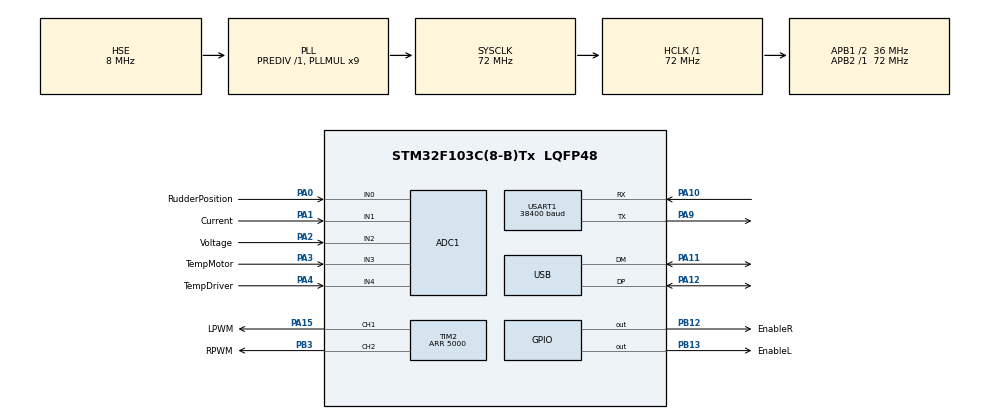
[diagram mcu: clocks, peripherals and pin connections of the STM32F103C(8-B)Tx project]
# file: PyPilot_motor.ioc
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ADC1.Channel-0\#ChannelRegularConversion=ADC_CHANNEL_0
ADC1.Channel-1\#ChannelRegularConversion=ADC_CHANNEL_1
ADC1.Channel-2\#ChannelRegularConversion=ADC_CHANNEL_2
ADC1.Channel-3\#ChannelRegularConversion=ADC_CHANNEL_3
ADC1.Channel-4\#ChannelRegularConversion=ADC_CHANNEL_4
ADC1.ContinuousConvMode=ENABLE
ADC1.DataAlign=ADC_DATAALIGN_RIGHT
ADC1.NbrOfConversion=5
ADC1.NbrOfConversionFlag=1
ADC1.Rank-0\#ChannelRegularConversion=1
ADC1.Rank-1\#ChannelRegularConversion=2
ADC1.Rank-2\#ChannelRegularConversion=3
ADC1.Rank-3\#ChannelRegularConversion=4
ADC1.Rank-4\#ChannelRegularConversion=5
ADC1.SamplingTime-0\#ChannelRegularConversion=ADC_SAMPLETIME_7CYCLES_5
ADC1.SamplingTime-1\#ChannelRegularConversion=ADC_SAMPLETIME_7CYCLES_5
ADC1.SamplingTime-2\#ChannelRegularConversion=ADC_SAMPLETIME_7CYCLES_5
ADC1.SamplingTime-3\#ChannelRegularConversion=ADC_SAMPLETIME_7CYCLES_5
ADC1.SamplingTime-4\#ChannelRegularConversion=ADC_SAMPLETIME_7CYCLES_5
ADC1.master=1
Dma.ADC1.0.Direction=DMA_PERIPH_TO_MEMORY
Dma.ADC1.0.Instance=DMA1_Channel1
Dma.ADC1.0.MemDataAlignment=DMA_MDATAALIGN_HALFWORD
Dma.ADC1.0.MemInc=DMA_MINC_ENABLE
Dma.ADC1.0.Mode=DMA_CIRCULAR
Dma.ADC1.0.PeriphDataAlignment=DMA_PDATAALIGN_HALFWORD
Dma.ADC1.0.PeriphInc=DMA_PINC_DISABLE
Dma.ADC1.0.Priority=DMA_PRIORITY_LOW
Dma.Request0=ADC1
Mcu.Family=STM32F1
Mcu.Name=STM32F103C(8-B)Tx
Mcu.Package=LQFP48
NVIC.DMA1_Channel1_IRQn=true\:1\:0\:true\:false\:true\:false\:true\:true
NVIC.PriorityGroup=NVIC_PRIORITYGROUP_4
NVIC.TIM4_IRQn=true\:15\:0\:false\:false\:true\:false\:true\:true
NVIC.TimeBase=TIM4_IRQn
NVIC.TimeBaseIP=TIM4
NVIC.USART1_IRQn=true\:0\:0\:true\:false\:true\:true\:true\:true
PA0-WKUP.GPIO_Label=RudderPosition
PA0-WKUP.Signal=ADCx_IN0
PA1.GPIO_Label=Current
PA1.Signal=ADCx_IN1
PA10.Mode=Asynchronous
PA10.Signal=USART1_RX
PA11.Mode=Device
PA11.Signal=USB_DM
PA12.Mode=Device
PA12.Signal=USB_DP
PA13.Mode=Serial_Wire
PA13.Signal=SYS_JTMS-SWDIO
PA14.Mode=Serial_Wire
PA14.Signal=SYS_JTCK-SWCLK
PA15.GPIO_Label=LPWM
PA15.Signal=S_TIM2_CH1_ETR
PA2.GPIO_Label=Voltage
PA2.Signal=ADCx_IN2
PA3.GPIO_Label=TempMotor
PA3.Signal=ADCx_IN3
PA4.GPIO_Label=TempDriver
PA4.Signal=ADCx_IN4
PA9.Mode=Asynchronous
PA9.Signal=USART1_TX
PB12.GPIO_Label=EnableR
PB12.Signal=GPIO_Output
PB13.GPIO_Label=EnableL
PB13.Signal=GPIO_Output
PB3.GPIO_Label=RPWM
PB3.Signal=S_TIM2_CH2
PC14-OSC32_IN.Mode=LSE-External-Oscillator
PC14-OSC32_IN.Signal=RCC_OSC32_IN
PC15-OSC32_OUT.Mode=LSE-External-Oscillator
PC15-OSC32_OUT.Signal=RCC_OSC32_OUT
PD0-OSC_IN.Mode=HSE-External-Oscillator
PD0-OSC_IN.Signal=RCC_OSC_IN
PD1-OSC_OUT.Mode=HSE-External-Oscillator
PD1-OSC_OUT.Signal=RCC_OSC_OUT
ProjectManager.HeapSize=0x200
ProjectManager.StackSize=0x400
ProjectManager.TargetToolchain=STM32CubeIDE
RCC.ADCPresc=RCC_ADCPCLK2_DIV8
RCC.AHBFreq_Value=72000000
RCC.APB1CLKDivider=RCC_HCLK_DIV2
RCC.APB1Freq_Value=36000000
RCC.APB1TimFreq_Value=72000000
RCC.APB2Freq_Value=72000000
RCC.APB2TimFreq_Value=72000000
RCC.HCLKFreq_Value=72000000
RCC.PLLMUL=RCC_PLL_MUL9
RCC.PLLSourceVirtual=RCC_PLLSOURCE_HSE
RCC.SYSCLKFreq_VALUE=72000000
RCC.SYSCLKSource=RCC_SYSCLKSOURCE_PLLCLK
RCC.USBFreq_Value=48000000
RCC.USBPrescaler=RCC_USBCLKSOURCE_PLL_DIV1_5
SH.ADCx_IN0.0=ADC1_IN0,IN0
SH.ADCx_IN1.0=ADC1_IN1,IN1
SH.ADCx_IN2.0=ADC1_IN2,IN2
SH.ADCx_IN3.0=ADC1_IN3,IN3
SH.ADCx_IN4.0=ADC1_IN4,IN4
SH.S_TIM2_CH1_ETR.0=TIM2_CH1,PWM Generation1 CH1
SH.S_TIM2_CH2.0=TIM2_CH2,PWM Generation2 CH2
TIM2.Channel-PWM\ Generation1\ CH1=TIM_CHANNEL_1
TIM2.Channel-PWM\ Generation2\ CH2=TIM_CHANNEL_2
TIM2.Period=5000
USART1.BaudRate=38400
USART1.VirtualMode=VM_ASYNC
VP_IWDG_VS_IWDG.Mode=IWDG_Activate
VP_SYS_VS_tim4.Mode=TIM4
board=custom

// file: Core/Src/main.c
/* USER CODE BEGIN Header */
/* Copyright (C) 2023 Brad Kauffman <brad@prydwen.info>

   This Program is free software; you can redistribute it and/or
   modify it under the terms of the GNU General Public
   License as published by the Free Software Foundation; either
   version 3 of the License, or (at your option) any later version.

   This is based on the original work by:
   Sean D'Epagnier <seandepagnier@gmail.com>
   modified by:
   Timo Birnschein (timo.birnschein@googlemail.com)

   The previous versions were for Arduino Nano boards.

   This version has been rebuilt into an STM32CubeIDE project to run on an
   STM32F103C8 such as found on the popular "blue pill". All Nano specific code
   has been removed. The original communication with Pypilot from Sean has been retained.
   Timo followed on with work to use an off the shelf IBT-2 motor controller. This code
   has been simplified to ONLY apply to the IBT-2 type controller.
   I have also retained Timo's work on using exponential filters on analog inputs.

   This is currently aimed at a boat with hydraulic steering so no clutch has been
   implemented. It would be easy to add.

   Please see config.h to set important configuration parameters

   The pinout for the STM32 is as follows:

   Motor controller---STM32
        RPWM          PB3
        LPWM          PA15
        R_EN          PB12
        L_EN          PB13
        R_IS          See notes on current sensing
        L_IS          See notes on current sensing
        VCC           3.3
        Gnd           G

        RPi-----------STM32
        Tx            PA10
        Rx            PA9
        Gnd           G
        3.3V          3.3

Analog Sensors- All are 0.0-3.3V analog signals

        Voltage                  PA2
        Current                  PA1
        Rudder Position          PA0
        Motor Temperature        PA3
        Controller Temperature   PA4

In the current version The analog inputs are all read and filtered but only Rudder
Position is used for control. Other inputs will be implemented later

Notes on current sensing:
The IS pins on the IBT-2 boards are a current source based on a linear ratio to the load current.
This current source needs to be converted to voltage by a resistor to ground. Furthermore each IS
pin is only active for current in one direction. The IBT-2 board supplies a resistor to ground
for each IS pin but it will not give a 0-3.3V signal. By wiring the two IS pins together and
supplying an additional resister to ground the signal can be conditioned. The resistor to ground
is dependant on the motor voltage being used and which driver chip is on the IBT-2. I have
seen two different chips used. I will provide more on this when I implement it in this code.

*/
/* USER CODE END Header */
#include "main.h"
#include "adc.h"
#include "dma.h"
#include "iwdg.h"
#include "tim.h"
#include "usart.h"
#include "usb.h"
#include "gpio.h"

/* USER CODE BEGIN Includes */
#include "config.h"
#include "crc.h"
//#include "adc_filtering.h"
#include "stdlib.h"
#include "math.h"

/* USER CODE END Includes */

/* USER CODE BEGIN PV */
uint8_t inbyte=0, SerialInReady=0;
uint8_t in_bytes[3];
uint8_t TxPending=0;
uint8_t ADCcomplete=0;
uint8_t sync_b=0;
uint8_t in_sync_count;
uint16_t flags = 0;
uint8_t serialin;
uint16_t count=0;
uint8_t timeout = 0;
uint16_t command_value = 1000;
uint16_t lastpos = 1000;

uint16_t max_current = CURRENT_MOTOR_MAX; // 20 Amps
uint16_t max_controller_temp= TEMPERATURE_CONTROLLER_MAX; // 70C
uint16_t max_motor_temp = TEMPERATURE_MOTOR_MAX; // 70C
uint8_t max_slew_speed = SPEEDUP_SLEW_RATE;
uint8_t max_slew_slow = SLOWDOWN_SLEW_RATE; // 200 is full power in 1/10th of a second
uint16_t rudder_min = RUDDER_MIN;
uint16_t rudder_max = RUDDER_MAX; // Analog rudder value between -100 and 100 full scale.

uint16_t RudderRaw,RudderFiltered,RudderHistory;
uint16_t VoltRaw,VoltFiltered,VoltHistory;
uint16_t AmpRaw,AmpFiltered,AmpHistory;
uint16_t TempMotorRaw,TempMotorFiltered,TempMotorHistory;
uint16_t TempControllerRaw,TempControllerFiltered,TempControllerHistory;

uint32_t last_loop_cycle_millis = 0;
uint32_t last_loop_voltage_millis=0;
uint32_t last_loop_rudder_millis = 0;
uint32_t last_loop_current_millis =0;
uint32_t last_loop_temperature_millis=0;
uint8_t  out_sync_pos = 0;
uint8_t OutputPacket[4];
uint16_t AnalogRaw[5];

uint8_t currentByte;
// Test variables
float LoopTime;
uint32_t LastLoopTick;
uint32_t LoopTotal;
uint16_t Loopi;

/* USER CODE END PV */

void SystemClock_Config(void);
/* USER CODE BEGIN PFP */
void process_packet(void);
void stop();
void position(uint16_t value);
void engage();
void disengage();
void update_command();
void detach();
void SendByte(void);
void stop_port(void);
void stop_starboard(void);
void SerialIn(void);
void ADC_updateAndFilter(void);
void SetFlags(void);

//test stuff to be removed
void GetLoopTime(void);

/* USER CODE END PFP */

int main(void)
{

  /* MCU Configuration--------------------------------------------------------*/

  /* Reset of all peripherals, Initializes the Flash interface and the Systick. */
  HAL_Init();

  /* Configure the system clock */
  SystemClock_Config();

  /* Initialize all configured peripherals */
  MX_GPIO_Init();         //turn on I/O pins
  MX_DMA_Init();          // Setup DMA for ADC
  MX_USART1_UART_Init();  // Setup UART for serial communication
  MX_TIM2_Init();         // Setup PWM channels
  MX_ADC1_Init();         // Turn on ADC
  MX_USB_PCD_Init();      // Start USB
#ifndef NO_WATCH_DOG
  MX_IWDG_Init();         // Start watchdog
#endif
  /* USER CODE BEGIN 2 */
// Initialize Motor driver outputs
  RPWMset = 0;  // PWM set to zero duty cycle to both h-bridges
  LPWMset = 0;
  EnableL_High; // Enable both half bridges
  EnableR_High;
//Start peripherals
  HAL_UART_Receive_IT(&huart1,&inbyte,1);
  HAL_ADC_Start_DMA(&hadc1,(uint32_t *) AnalogRaw,5);
  HAL_TIM_PWM_Start(&htim2,TIM_CHANNEL_1);
  HAL_TIM_PWM_Start(&htim2,TIM_CHANNEL_2);
  // wait for first analog scan complete
  while (ADCcomplete==0)
  {
  }
  // initialize all analog variables
  RudderFiltered = AnalogRaw[0]; //AnalogRaw array is filled by ADC->DMA
  RudderHistory =  AnalogRaw[0];

  VoltFiltered = AnalogRaw[1];
  VoltHistory  = AnalogRaw[1];

  AmpFiltered = AnalogRaw[2];
  AmpHistory  = AnalogRaw[2];

  TempMotorFiltered = AnalogRaw[3];
  TempMotorHistory  = AnalogRaw[3];

  TempControllerFiltered = AnalogRaw[4];
  TempControllerHistory  = AnalogRaw[4];

  /* USER CODE END 2 */

  /* Infinite loop */
  /* USER CODE BEGIN WHILE */
  /****************************************Main Control Loop ************************************/
  while (1)
  {
#ifndef NO_WATCH_DOG
	  HAL_IWDG_Refresh(&hiwdg) ; //reset watchdog timer
#endif
	  GetLoopTime(); //debug for finding loop time in milliseconds
	  update_command();      // this updates the motor command at appropriate slew rate
	  ADC_updateAndFilter(); //Update all ADC values
	  if(timeout == 120) disengage();  // disengage if nothing is going on, timeout is reset when command is processed
	  if(timeout >= 128) detach();     // detach 160 ms later
	  SerialIn(); // get serial input from pypilot, process command if valid command received
	  SetFlags(); // check all inputs and set flags to send back to pypilot, also shut down for error conditions
	  SendByte(); // Send data back to Pypilot

    /* USER CODE END WHILE */

    /* USER CODE BEGIN 3 */
/**************************************End Main Control Loop **********************************/

  }
  // This is outside infinite loop. We can't get here.
  /* USER CODE END 3 */
}
void SystemClock_Config(void)
{
  RCC_OscInitTypeDef RCC_OscInitStruct = {0};
  RCC_ClkInitTypeDef RCC_ClkInitStruct = {0};
  RCC_PeriphCLKInitTypeDef PeriphClkInit = {0};

  /** Initializes the RCC Oscillators according to the specified parameters
  * in the RCC_OscInitTypeDef structure.
  */
  RCC_OscInitStruct.OscillatorType = RCC_OSCILLATORTYPE_LSI|RCC_OSCILLATORTYPE_HSE;
  RCC_OscInitStruct.HSEState = RCC_HSE_ON;
  RCC_OscInitStruct.HSEPredivValue = RCC_HSE_PREDIV_DIV1;
  RCC_OscInitStruct.HSIState = RCC_HSI_ON;
  RCC_OscInitStruct.LSIState = RCC_LSI_ON;
  RCC_OscInitStruct.PLL.PLLState = RCC_PLL_ON;
  RCC_OscInitStruct.PLL.PLLSource = RCC_PLLSOURCE_HSE;
  RCC_OscInitStruct.PLL.PLLMUL = RCC_PLL_MUL9;
  if (HAL_RCC_OscConfig(&RCC_OscInitStruct) != HAL_OK)
  {
    Error_Handler();
  }

  /** Initializes the CPU, AHB and APB buses clocks
  */
  RCC_ClkInitStruct.ClockType = RCC_CLOCKTYPE_HCLK|RCC_CLOCKTYPE_SYSCLK
                              |RCC_CLOCKTYPE_PCLK1|RCC_CLOCKTYPE_PCLK2;
  RCC_ClkInitStruct.SYSCLKSource = RCC_SYSCLKSOURCE_PLLCLK;
  RCC_ClkInitStruct.AHBCLKDivider = RCC_SYSCLK_DIV1;
  RCC_ClkInitStruct.APB1CLKDivider = RCC_HCLK_DIV2;
  RCC_ClkInitStruct.APB2CLKDivider = RCC_HCLK_DIV1;

  if (HAL_RCC_ClockConfig(&RCC_ClkInitStruct, FLASH_LATENCY_2) != HAL_OK)
  {
    Error_Handler();
  }
  PeriphClkInit.PeriphClockSelection = RCC_PERIPHCLK_ADC|RCC_PERIPHCLK_USB;
  PeriphClkInit.AdcClockSelection = RCC_ADCPCLK2_DIV8;
  PeriphClkInit.UsbClockSelection = RCC_USBCLKSOURCE_PLL_DIV1_5;
  if (HAL_RCCEx_PeriphCLKConfig(&PeriphClkInit) != HAL_OK)
  {
    Error_Handler();
  }
}
/* USER CODE BEGIN 4 */
// Takes action on the received packet from serial_in()
void process_packet()
{
    flags |= SYNC;
    uint16_t value = in_bytes[1] | in_bytes[2]<<8;

    switch(in_bytes[0])
    {
    case REPROGRAM_CODE:
    	{
    		// Not implemented for STM32
    	} break;
    case RESET_CODE:
        // reset overcurrent flag
        flags &= ~OVERCURRENT_FAULT;
        break;
    case COMMAND_CODE:

        timeout = 0; // Reset timeout to make sure we're not resetting anything else
        if(serialin < 12)
            serialin+=4; // output at input rate
        if(value > 2000); // out of range (can only be positive because it's a uint16_t)
            // unused range, invalid!!!
            // ignored
        else if(flags & (OVERTEMP_FAULT | OVERCURRENT_FAULT | BADVOLTAGE_FAULT));
            // no command because of overtemp or overcurrent or badvoltage
        else if((flags & (PORT_PIN_FAULT | MAX_RUDDER_FAULT)) && value > 1000)
            stop();
            // no forward command if port fault
        else if((flags & (STARBOARD_PIN_FAULT | MIN_RUDDER_FAULT)) && value < 1000)
            stop();
            // no starboard command if port fault
        else {

            command_value = value;

            engage();

        }
        break;
    case MAX_CURRENT_CODE: { // current in units of 10mA
      /*
       * Todo: Needs reimplpementation.
       */

        unsigned int max_max_current = 2000;

        if(value > max_max_current)
            value = max_max_current;
        max_current = value;
    } break;
    case MAX_CONTROLLER_TEMP_CODE:
        if(value > 10000) // maximum is 100C
            value = 10000;
        max_controller_temp = value;
        break;
    case MAX_MOTOR_TEMP_CODE:
        if(value > 10000) // maximum is 100C
            value = 10000;
        max_motor_temp = value;
        break;

    case RUDDER_MIN_CODE:
        rudder_min = value;
        break;
    case RUDDER_MAX_CODE:
        rudder_max = value;
        break;
    case DISENGAGE_CODE:
        if(serialin < 12)
            serialin+=4; // output at input rate
        disengage();
        break;
    case MAX_SLEW_CODE: {
        max_slew_speed = in_bytes[1];
        max_slew_slow =  in_bytes[2];

        // if set at the end of range (up to 255)  no slew limit
        if(max_slew_speed > 250)
            max_slew_speed = 250;
        if(max_slew_slow > 250)
            max_slew_slow = 250;

        // must have some slew
        if(max_slew_speed < 1)
            max_slew_speed = 1;
        if(max_slew_slow < 1)
            max_slew_slow = 1;
    } break;

    case EEPROM_READ_CODE:{
        // Not implemented for STM32
        }
    break;

    case EEPROM_WRITE_CODE:
        //Not implemented for STM32
    break;
    }
}
// Stops motor by sending a neutral command
void stop()
{
    position(1000);
    command_value = 1000;
}
void stop_port()
{
    if(lastpos > 1000)
       stop();
}
void stop_starboard()
{
    if(lastpos < 1000)
       stop();
}
// Sets PWM and direction based on current command value
void position(uint16_t value)
{
  // store the new value as the new last position, used by update_command() to determine next command
  lastpos = value;
  int16_t newValue = abs((int)value - 1000);

  // Determine if value is bigger or smaller than 1000 plus deadzone
  if(value > 1000 + PWM_DEADBAND)
  {
    // Turn PWM for CCW operation on and the other off
    RPWMset = (uint16_t)(5*newValue);  //timer count is 5000 and command max is 1000 so 5*1000 gives maximum command
    LPWMset =0;
  } else if(value < 1000 - PWM_DEADBAND)
  {
    // Turn PWM for CW operation on and the other off
	    LPWMset = (uint16_t)(5*newValue);
	    RPWMset =0;
  } else
  {
      // Nothing to do. We got about 1000 and need to turn  PWM off
    LPWMset = 0;
    RPWMset = 0;
  }

}
// Sets PWM to zero and turns on driver enables
void engage()
{
    if(flags & ENGAGED)
    { // Already engaged
        return;
    }

    RPWMset = 0; // Disengage PWM to both h-bridges
    LPWMset = 0; // Disengage PWM to both h-bridges
    EnableL_High; // Enable both half bridges
    EnableR_High;
    timeout = 0;
    flags |= ENGAGED;

}
void disengage() // Will not be changed
{
    stop();
    flags &= ~ENGAGED;
    timeout = 60; // detach in about 62ms

}
// Ramps the motor speed up to the commanded rate based on the slew speed set in Pypilot
void update_command()
{
    if(HAL_GetTick() - last_loop_cycle_millis > 20)
    {
        if(flags & ENGAGED)
        {
        	int16_t speed_rate  = max_slew_speed;
        	int16_t slow_rate   = max_slew_slow; // value of 20 is 1 second full range at 50hz
        	uint16_t cur_value  =  lastpos;
        	int16_t diff        = (int)command_value - (int)cur_value;

        	// limit motor speed change to stay within speed and slow slew rates
        	if(diff > 0)
        	{
        		if(cur_value < 1000)
        		{
        			if(diff > slow_rate)
        				diff = slow_rate;
        		} else
        			if(diff > speed_rate)
        				diff = speed_rate;
        	} else
        	{
        		if(cur_value > 1000)
        		{
        			if(diff < -slow_rate)
        				diff = -slow_rate;
        		} else
        			if(diff < -speed_rate)
        					diff = -speed_rate;
        	}

    // Push the new value over to the position function
    position(cur_value + diff);
        }

	timeout++; // timeout resets when valid command processed
	last_loop_cycle_millis = HAL_GetTick(); // Store the time from here to next iteration
 }
}
// Turns off the driver enable pins and sets the PWMs to zero duty cycle
void detach()
{
    RPWMset = 0; // Disengage PWM to both h-bridges
    LPWMset = 0; // Disengage PWM to both h-bridges
    EnableL_Low; // Disable both H-Bridges. This will also disable the motor brake
    EnableR_Low;
    timeout = 80; // avoid overflow
}
//Receives serial data from Pypilot, syncs to input stream, Checks for valid command and calls process_packet()
void SerialIn(void)
{
    /*
     * **************************** SERIAL INPUT ***********************************************
     * 1. Read 3 bytes
     * 2. Check if the fourth byte is a valid CRC of the first three.
     * 3. If yes, check if at least three packets in a row were valid, if so process packet.
     * 4. If no, input isn't synced, advance one byte and try again until sync is achieved
     */
if (SerialInReady)
	{
		uint8_t c=currentByte;
		SerialInReady=0;
		HAL_UART_Receive_IT(&huart1,&inbyte,1);
		//count++;
		if(sync_b < 3) // get a string of 3 bytes
		{
			in_bytes[sync_b] = c;
			sync_b++;
		} else
		{

			if(c == crc8(in_bytes, 3))// check CRC of string and act if match
			{
				if(in_sync_count >= 2) // Wait for 3 valid commands before acting just to be safe
				{ // if crc matches, we have a valid packet
					process_packet(); //act on current received input
				} else
					in_sync_count++;

				sync_b = 0;
				flags &= ~INVALID;
			} else
			{
	              // invalid packet or not synced to input
				  // flag not sync and stop until valid command stream
	              flags &= ~SYNC;
	              stop();
	              in_sync_count = 0; //reset counts
	              // rotate in_byte string by one and get another to get into sync
	              in_bytes[0] = in_bytes[1];
	              in_bytes[1] = in_bytes[2];
	              in_bytes[2] = c;
	              flags |= INVALID;
			}

		}
	}

}
// Sends packets of data back to pypilot, cycles through data based on out_sync_pos which incremented after each packet is sent
void SendByte(void)
{
if (TxPending) return; //Skip if UART is busy

	        // match output rate to input rate
	        if(serialin < 4)
	            return;

	        uint16_t v;
	        uint8_t code;

	        //  flags C R V C R ct C R mt flags  C  R  V  C  R EE  C  R mct flags  C  R  V  C  R  EE  C  R rr flags  C  R  V  C  R EE  C  R cc  C  R vc
	        //  0     1 2 3 4 5  6 7 8  9    10 11 12 13 14 15 16 17 18  19    20 21 22 23 24 25  26 27 28 29    30 31 32 33 34 35 36 37 38 39 40 41 42
	        switch(out_sync_pos++)
	        {
	        	case 0: case 10: case 20: case 30:
	                flags |= CURRENT_RANGE;
	                v = flags;
	                 code = FLAGS_CODE;
	                 break;
	             case 1: case 4: case 7: case 11: case 14: case 17: case 21: case 24: case 27: case 31: case 34: case 37: case 40:
	                 v = AmpFiltered;
	                 code = CURRENT_CODE;
	                 serialin-=4; // fix current output rate to input rate
	                 break;
	             case 2: case 5: case 8: case 12: case 15: case 18: case 22: case 25: case 28: case 32: case 35: case 38: case 41:
	                 v = RudderFiltered;
	                 code = RUDDER_SENSE_CODE;
	                 break;
	             case 3: case 13: case 23: case 33:
	                 v = VoltFiltered;
	                 code = VOLTAGE_CODE;
	                 break;
	             case 6:
	                 v = TempControllerFiltered;
	                 code = CONTROLLER_TEMP_CODE;
	                 break;
	             case 9:
	                 v = TempMotorFiltered;
	                 code = MOTOR_TEMP_CODE;
	                 break;
	             case 16: case 26: case 36: /* eeprom reads */
	                 // Not implemented on STM32
	                 return;
	             default:
	                 return;
	        }
	        // Assemble output packet
	        OutputPacket[0] = code;
	        OutputPacket[1] = v;
	        OutputPacket[2] = v>>8;
	        OutputPacket[3]=crc8(OutputPacket, 3);
	    	HAL_UART_Transmit_IT(&huart1, OutputPacket,4); //send it out
	        TxPending=1;

}
// Add current analog values based on alpha values for exponential filtering
// This is a simple low pass single pole recursive filter of the form
//   Y[n]=a*X[n]+b*Y[n-1] where a=1-x, b=x, x<1 ref:The Scientist and Engineer's Guide to
//   Digital Signal Processing by Steven W. Smith, Phd.
// For some reason the coefficients are defined here in terms of a or ALPHA rather than x
void ADC_updateAndFilter(void)
{
	if(ADCcomplete) //Set in ADC ISR HAL_ADC_ConvCpltCallback
	{

      RudderRaw = AnalogRaw[0];  //AnalogRaw is the DMA location of ADC output, 5 channels 0-4
      RudderFiltered = (uint16_t)(ALPHA_RUDDER * (float)RudderRaw + (1 - ALPHA_RUDDER) * (float)RudderHistory);
      RudderHistory = RudderFiltered;

      VoltRaw = AnalogRaw[1];
      VoltFiltered = (uint16_t)(ALPHA_VOLTAGE * (float)VoltRaw + (1 - ALPHA_VOLTAGE) * (float)VoltHistory);
      VoltHistory = VoltFiltered;

      AmpRaw = AnalogRaw[2];
      AmpFiltered = (uint16_t)(ALPHA_CURRENT * (float)AmpRaw + (1 - ALPHA_CURRENT) * (float)AmpHistory);
      AmpHistory = AmpFiltered;

      TempMotorRaw = AnalogRaw[3];
      TempMotorFiltered = (uint16_t)(ALPHA_TEMPMOTOR * (float)TempMotorRaw + (1 - ALPHA_TEMPMOTOR) * (float)TempMotorHistory);
      TempMotorHistory = TempMotorFiltered;

      TempControllerRaw = AnalogRaw[4];
      TempControllerFiltered = (uint16_t)(ALPHA_TEMPCNTRL * (float)TempControllerRaw + (1 - ALPHA_TEMPCNTRL) * (float)TempControllerHistory);
      TempControllerHistory = TempControllerFiltered;

      ADCcomplete=0; // will be set again in ADC ISR
	}

}
void SetFlags(void)
{
#ifndef DISABLE_RUDDER_SENSE

    if (HAL_GetTick() - last_loop_rudder_millis > 100)
    {
      uint16_t v = RudderFiltered;
      // if not positive, then rudder feedback has negative gain (reversed)
      uint8_t pos = rudder_min < rudder_max;

      if((pos && v < rudder_min) || (!pos && v > rudder_min)) {
          stop_starboard();
          flags |= MIN_RUDDER_FAULT;
      } else
          flags &= ~MIN_RUDDER_FAULT;
      if((pos && v > rudder_max) || (!pos && v < rudder_max)) {
          stop_port();
          flags |= MAX_RUDDER_FAULT;
      } else
          flags &= ~MAX_RUDDER_FAULT;

      last_loop_rudder_millis = HAL_GetTick();
    }
#endif

#ifndef DISABLE_CURRENT_SENSE
    if (HAL_GetTick() - last_loop_current_millis > 500)
    {
      uint16_t amps = AmpFiltered;
      if(amps >= max_current) {
          stop();
          flags |= OVERCURRENT_FAULT;
      } else {
          flags &= ~OVERCURRENT_FAULT;
      }
      last_loop_current_millis = HAL_GetTick();
    }
#endif

#ifndef DISABLE_VOLTAGE_SENSE

    if (HAL_GetTick() - last_loop_voltage_millis > 2000)
    {
      uint16_t volts = VoltFiltered;
      // voltage must be between min and max voltage
      if(volts <= (uint16_t)(VIN_MIN) || volts >= (uint16_t)(VIN_MAX)) {
          stop();
          flags |= BADVOLTAGE_FAULT;
      } else
          flags &= ~BADVOLTAGE_FAULT;

      last_loop_voltage_millis = HAL_GetTick();
    }
#endif

#ifndef DISABLE_TEMP_SENSE

    if (HAL_GetTick() - last_loop_temperature_millis > 4000)
    {
      uint16_t controller_temp = TempControllerFiltered;
      uint16_t motor_temp = TempMotorFiltered;
      if(controller_temp >= max_controller_temp || motor_temp >= max_motor_temp) {
          stop();
          flags |= OVERTEMP_FAULT;
      } else
          flags &= ~OVERTEMP_FAULT;

      last_loop_temperature_millis = HAL_GetTick();
    }
// todo: need to fix this for shutdown
//    if(controller_temp > 11000) {
//        stop();
//        asm volatile ("ijmp" ::"z" (0x0000)); // attempt soft reset
//    }
#endif
}

void GetLoopTime(void)
{
	uint32_t t=HAL_GetTick();

	if(t>=LastLoopTick)
	{
		uint32_t delta =t-LastLoopTick;
		LoopTotal=LoopTotal+delta;
		Loopi++;
		LastLoopTick=t;
		if (Loopi>1000)
		{
			LoopTime=(float)LoopTotal/1000;
			LoopTotal=0;
			Loopi=0;
		}
	}

}
/*********************Interrupt callback routines********************************************************/
void HAL_ADC_ConvCpltCallback(ADC_HandleTypeDef * hadc)
{
ADCcomplete=1;
}
void HAL_UART_RxCpltCallback  ( UART_HandleTypeDef *  huart )
{
	SerialInReady=1;
	currentByte=inbyte;
}
void HAL_UART_TxCpltCallback  ( UART_HandleTypeDef *  huart )
{
	TxPending=0;
}
/* USER CODE END 4 */
void HAL_TIM_PeriodElapsedCallback(TIM_HandleTypeDef *htim)
{
  if (htim->Instance == TIM4) {
    HAL_IncTick();
  }
}
void Error_Handler(void)
{
  __disable_irq();
  while (1)
  {
  }
}
